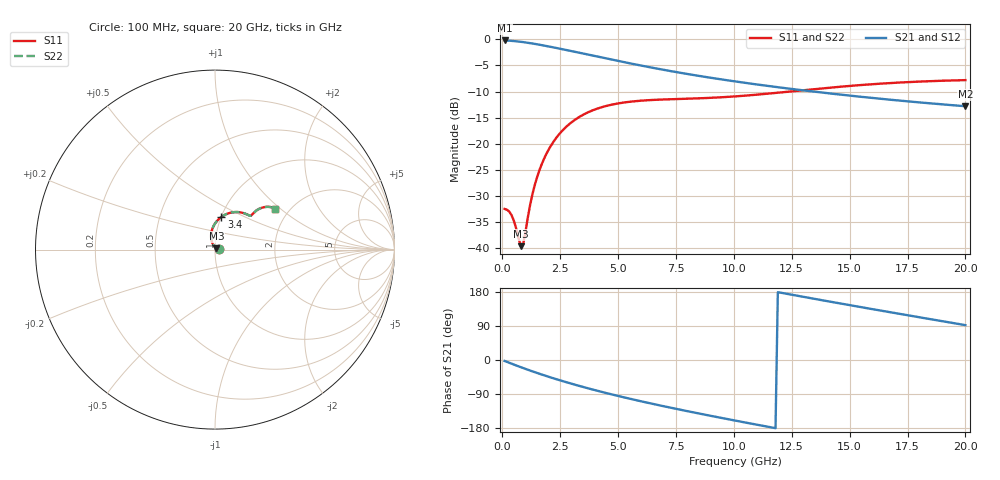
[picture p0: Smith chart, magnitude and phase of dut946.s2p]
! Touchstone file exported from HFSS 2024.1.0
!  File:  C:/UserFiles/LocalFiles/RDL_TSV_Batchsim/temp_RDL_TSV_946_1779964017.aedt
!  Generated:  06:44:42 PM May 28, 2026
!  Design:  RDL_TSV
!  Project:  temp_RDL_TSV_946_1779964017
!  Setup:  Setup1
!  Solution:  Sweep
! Variables:
!  dtsv = 12.04um
!  hbump = 3um
!  htsv = 96.17um
!  ldown = 500.84um
!  lrdl = 521.98um
!  p = 40
!  p1 = 53.47um
!  rhole = 10um
!  subl = 3590.44um
!  t = 450um
!  tdown = 2.83um
!  trdl = 2.83um
!  viad = 10um
!  wdown = 27.79um
!  wrdl = 15.16um
!  xbump = 18um
# GHz S MA R 50.000000
! Terminal data exported
! Port[1] = TM1_1_T1
! Port[2] = TM1_4_T1
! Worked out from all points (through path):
!   200 points, 100 MHz to 20 GHz, reference 50 ohm
!   highest |S21| = -0.22 dB at 100 MHz (marker M1); lowest = -12.8 dB at 20 GHz (marker M2)
!   group delay of S21, straight-line fit = 35 ps
!   lowest |S11| = -39.6 dB at 800 MHz (marker M3), VSWR 1.02, Z = 50.8 + j0.726 ohm
!   |S11| at or under -10 dB: start of sweep to 12.39 GHz
!   |S22| runs from -39.6 to -7.8 dB; largest |S21 - S12| = 7.6e-15
!   S11 on the Smith chart (normalised r, x): 100 MHz: 1.05, +0.00; 3.4 GHz: 1.00, +0.38; 20 GHz: 1.70, +0.93
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0.1  0.02385 1.4  0.9754 -2.5  0.9754 -2.5  0.02385 1.4
! Gamma 0 0 0 0
! Port Impedance 50 0 50 0
0.4  0.02079 3.8  0.9669 -9.7  0.9669 -9.7  0.02078 3.9
0.5  0.01839 6.1  0.9627 -12.1  0.9627 -12.1  0.01839 6.1
0.8  0.0105 42.9  0.9469 -19.0  0.9469 -19.0  0.0105 42.9
0.9  0.01095 70.9  0.9407 -21.2  0.9407 -21.2  0.01096 70.9
1.2  0.02591 108.9  0.9198 -27.8  0.9198 -27.8  0.02592 109.0
1.4  0.04021 111.9  0.9045 -32.1  0.9045 -32.1  0.04023 111.9
1.6  0.05573 110.6  0.8884 -36.3  0.8884 -36.3  0.05575 110.6
1.8  0.07179 107.7  0.8719 -40.3  0.8719 -40.3  0.07182 107.7
2.1  0.09598 102.3  0.8466 -46.2  0.8466 -46.2  0.09602 102.3
2.5  0.1269 94.7  0.8126 -53.8  0.8126 -53.8  0.127 94.7
3.4  0.185 79.0  0.7383 -69.7  0.7383 -69.7  0.1851 79.0
3.5  0.1903 77.5  0.7304 -71.4  0.7304 -71.4  0.1904 77.5
4.2  0.2209 67.8  0.677 -82.7  0.677 -82.7  0.221 67.8
5.1  0.2457 58.3  0.6149 -96.3  0.6149 -96.3  0.2458 58.3
6.8  0.265 47.5  0.5188 -119.8  0.5188 -119.8  0.2651 47.5
8.3  0.2717 43.9  0.454 -138.8  0.454 -138.8  0.2719 43.9
10.1  0.2849 43.4  0.3943 -160.4  0.3943 -160.4  0.2851 43.3
11.6  0.304 43.5  0.3552 -177.6  0.3552 -177.6  0.3041 43.5
13.4  0.3327 42.8  0.3171 162.2  0.3171 162.2  0.3327 42.8
16.7  0.381 38.7  0.2651 126.6  0.2651 126.6  0.3806 38.7
20  0.4071 34.1  0.2291 92.0  0.2291 92.0  0.4065 34.1
